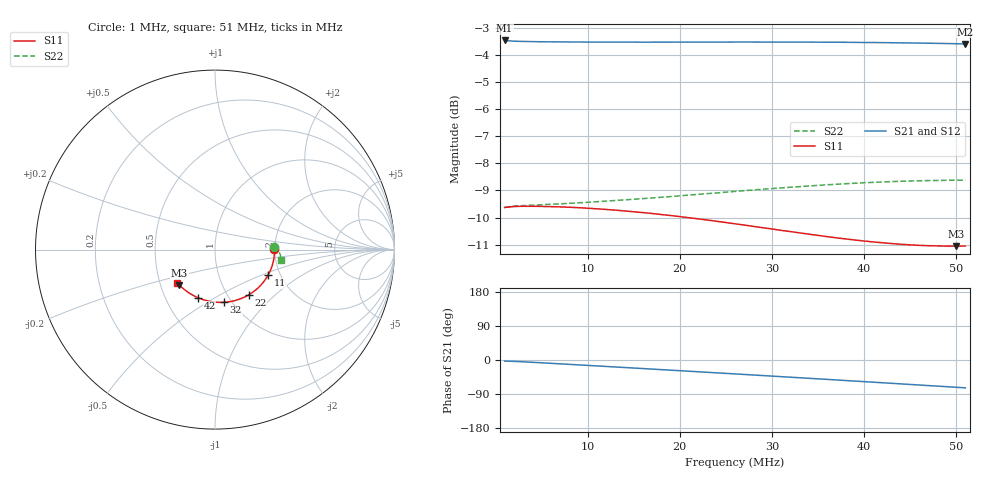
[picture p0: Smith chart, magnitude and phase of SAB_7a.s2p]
# MHz S RI R 50
! S-Parameters data
! Freq  reS11  imS11  reS21  imS21  reS12  imS12  reS22  imS22
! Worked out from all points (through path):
!   51 points, 1 MHz to 51 MHz, reference 50 ohm
!   highest |S21| = -3.47 dB at 1 MHz (marker M1); lowest = -3.6 dB at 51 MHz (marker M2)
!   group delay of S21, straight-line fit = 3.97 ns
!   lowest |S11| = -11.1 dB at 50 MHz (marker M3), VSWR 1.78, Z = 31.2 - j13.4 ohm
!   |S11| at or under -10 dB: 20.87 MHz to end of sweep
!   |S22| runs from -9.6 to -8.6 dB; largest |S21 - S12| = 0.00046
!   S11 on the Smith chart (normalised r, x): 1 MHz: 1.99, +0.01; 11 MHz: 1.73, -0.55; 22 MHz: 1.25, -0.70; 32 MHz: 0.92, -0.60; 42 MHz: 0.72, -0.42; 51 MHz: 0.62, -0.25
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1  0.3301 0.00298  0.6698 -0.033  0.6698 -0.0331  0.3298 0.0167
2  0.331 -0.018  0.6672 -0.042  0.6672 -0.042  0.3318 0.00954
4  0.3281 -0.049  0.6636 -0.0705  0.6636 -0.0705  0.3333 0.00597
7  0.3183 -0.0905  0.6562 -0.1169  0.6562 -0.1171  0.3352 0.00452
10  0.3026 -0.1294  0.6456 -0.1638  0.6457 -0.1638  0.3374 0.00331
11  0.2961 -0.1417  0.6414 -0.1793  0.6415 -0.1794  0.3383 0.00301
15  0.2643 -0.1877  0.6209 -0.2405  0.6209 -0.2407  0.3418 0.00122
18  0.2348 -0.218  0.6015 -0.2856  0.6015 -0.2856  0.3447 -0.00058
22  0.1889 -0.2515  0.5707 -0.3434  0.5707 -0.3434  0.349 -0.00397
24  0.1636 -0.2649  0.5528 -0.3713  0.553 -0.3714  0.351 -0.00604
26  0.1369 -0.2759  0.5339 -0.3984  0.5339 -0.3985  0.3533 -0.00838
29  0.0948 -0.2877  0.5023 -0.4374  0.5025 -0.4374  0.3564 -0.0124
32  0.051 -0.2936  0.4678 -0.474  0.468 -0.4741  0.3593 -0.0172
35  0.00636 -0.2932  0.4301 -0.5081  0.4304 -0.5082  0.3618 -0.0227
38  -0.0384 -0.2863  0.3896 -0.5394  0.3899 -0.5394  0.364 -0.0287
40  -0.0676 -0.2782  0.3611 -0.5582  0.3615 -0.5584  0.3651 -0.0331
42  -0.0963 -0.2674  0.3317 -0.5757  0.3319 -0.5758  0.3659 -0.0376
43  -0.1102 -0.2609  0.3167 -0.5838  0.3169 -0.5839  0.3662 -0.0399
45  -0.1373 -0.2459  0.2856 -0.599  0.2859 -0.599  0.3667 -0.0447
47  -0.1631 -0.2284  0.2537 -0.6123  0.2539 -0.6124  0.3667 -0.0496
50  -0.1985 -0.1976  0.2045 -0.6289  0.2046 -0.6289  0.3661 -0.0574
51  -0.2094 -0.1863  0.1878 -0.6337  0.1879 -0.6336  0.3657 -0.06
